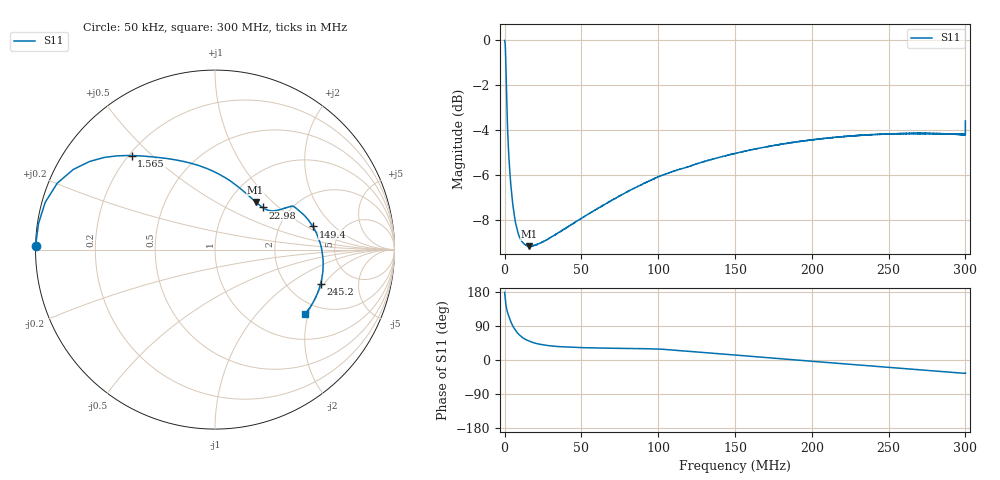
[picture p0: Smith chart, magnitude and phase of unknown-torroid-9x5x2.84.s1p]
# HZ S RI R 50
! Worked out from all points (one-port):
!   10100 points, 50 kHz to 300 MHz, reference 50 ohm
!   lowest |S11| = -9.1 dB at 16.12 MHz (marker M1), VSWR 2.07, Z = 65.6 + j39.7 ohm
!   |S11| at or under -10 dB: nowhere
!   S11 on the Smith chart (normalised r, x): 50 kHz: 0.00, +0.01; 1.565 MHz: 0.21, +0.43; 22.98 MHz: 1.47, +0.79; 149.4 MHz: 3.07, +1.15; 245.2 MHz: 3.00, -1.85; 300 MHz: 1.61, -2.16
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50000  -0.9994 0.0225
762800  -0.7892 0.4468
1564700  -0.4644 0.524
1861700  -0.392 0.5206
2158700  -0.3331 0.5152
2633900  -0.2558 0.5057
3198301  -0.1819 0.4926
3762601  -0.1218 0.4775
4416001  -0.0645 0.4591
5099101  -0.0163 0.4393
5901001  0.0286 0.417
7623702  0.0974 0.374
9762203  0.1498 0.3332
1.25244e7  0.1919 0.2965
1.61182e7  0.226 0.2657
2.297911e7  0.2648 0.2347
3.756231e7  0.3104 0.216
7.504502e7  0.3882 0.2305
9.942953e7  0.4327 0.2429
1.125573e8  0.4661 0.2191
1.493569e8  0.5447 0.129
1.5004e8  0.5459 0.1271
1.875227e8  0.5932 0.00845
2.250351e8  0.6008 -0.1214
2.452317e8  0.5887 -0.1906
2.625177e8  0.5694 -0.2469
2.984856e8  0.5063 -0.3526
3.000003e8  0.5456 -0.3756
